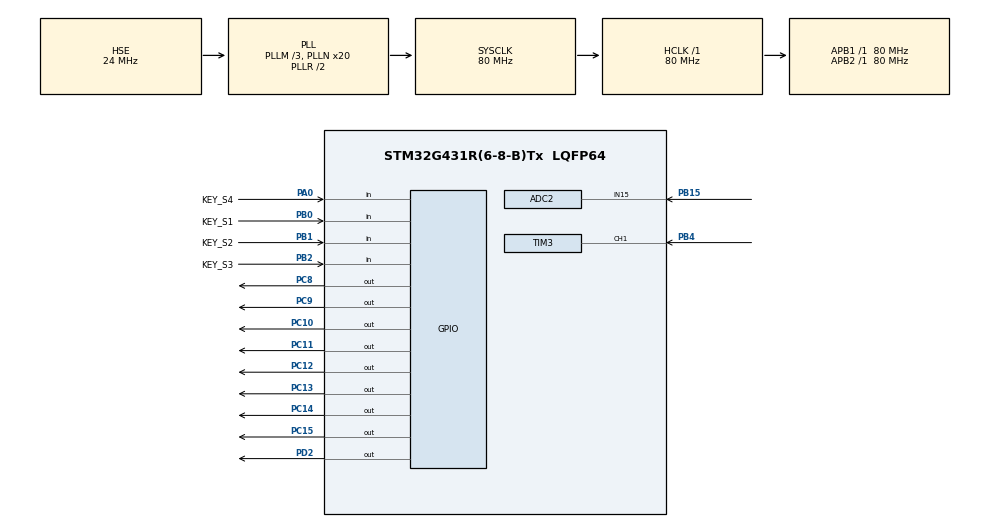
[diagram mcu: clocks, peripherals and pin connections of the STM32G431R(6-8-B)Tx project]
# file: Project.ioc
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ADC2.Channel-0\#ChannelRegularConversion=ADC_CHANNEL_15
ADC2.ContinuousConvMode=ENABLE
ADC2.NbrOfConversionFlag=1
ADC2.OffsetNumber-0\#ChannelRegularConversion=ADC_OFFSET_NONE
ADC2.Overrun=ADC_OVR_DATA_OVERWRITTEN
ADC2.Rank-0\#ChannelRegularConversion=1
ADC2.SamplingTime-0\#ChannelRegularConversion=ADC_SAMPLETIME_2CYCLES_5
Mcu.Family=STM32G4
Mcu.Name=STM32G431R(6-8-B)Tx
Mcu.Package=LQFP64
NVIC.PriorityGroup=NVIC_PRIORITYGROUP_4
NVIC.TIM1_TRG_COM_TIM17_IRQn=true\:1\:0\:true\:false\:true\:true\:true\:true
PA0.GPIO_Label=KEY_S4
PA0.Signal=GPIO_Input
PA13.Mode=Serial_Wire
PA13.Signal=SYS_JTMS-SWDIO
PA14.Mode=Serial_Wire
PA14.Signal=SYS_JTCK-SWCLK
PB0.GPIO_Label=KEY_S1
PB0.Signal=GPIO_Input
PB1.GPIO_Label=KEY_S2
PB1.Signal=GPIO_Input
PB15.Mode=IN15-Single-Ended
PB15.Signal=ADC2_IN15
PB2.GPIO_Label=KEY_S3
PB2.Signal=GPIO_Input
PB4.Signal=S_TIM3_CH1
PC10.Signal=GPIO_Output
PC11.Signal=GPIO_Output
PC12.Signal=GPIO_Output
PC13.Signal=GPIO_Output
PC14-OSC32_IN.Signal=GPIO_Output
PC15-OSC32_OUT.Signal=GPIO_Output
PC8.Signal=GPIO_Output
PC9.Signal=GPIO_Output
PD2.Signal=GPIO_Output
PF0-OSC_IN.Mode=HSE-External-Oscillator
PF0-OSC_IN.Signal=RCC_OSC_IN
PF1-OSC_OUT.Mode=HSE-External-Oscillator
PF1-OSC_OUT.Signal=RCC_OSC_OUT
ProjectManager.HeapSize=0x0
ProjectManager.StackSize=0x1000
ProjectManager.TargetToolchain=MDK-ARM V5.32
RCC.ADC12Freq_Value=80000000
RCC.AHBFreq_Value=80000000
RCC.APB1Freq_Value=80000000
RCC.APB1TimFreq_Value=80000000
RCC.APB2Freq_Value=80000000
RCC.APB2TimFreq_Value=80000000
RCC.CortexFreq_Value=80000000
RCC.EXTERNAL_CLOCK_VALUE=12288000
RCC.HCLKFreq_Value=80000000
RCC.HSE_VALUE=24000000
RCC.HSI48_VALUE=48000000
RCC.HSI_VALUE=16000000
RCC.LSE_VALUE=32768
RCC.PLLM=RCC_PLLM_DIV3
RCC.PLLN=20
RCC.PLLSourceVirtual=RCC_PLLSOURCE_HSE
RCC.SYSCLKFreq_VALUE=80000000
RCC.SYSCLKSource=RCC_SYSCLKSOURCE_PLLCLK
RCC.USBFreq_Value=80000000
RCC.VCOOutputFreq_Value=160000000
SH.S_TIM3_CH1.0=TIM3_CH1,PWM_Input_1
TIM17.PeriodNoDither=9999
TIM17.Prescaler=79
TIM3.ICPolarity_1=TIM_INPUTCHANNELPOLARITY_RISING
TIM3.Prescaler=79
VP_SYS_VS_DBSignals.Mode=DisableDeadBatterySignals
VP_TIM17_VS_ClockSourceINT.Mode=Enable_Timer
board=custom

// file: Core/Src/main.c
/* USER CODE BEGIN Header */
/**
  ******************************************************************************
  * @file           : main.c
  * @brief          : Main program body
  ******************************************************************************
  * @attention
  *
  * Copyright (c) 2025 STMicroelectronics.
  * All rights reserved.
  *
  * This software is licensed under terms that can be found in the LICENSE file
  * in the root directory of this software component.
  * If no LICENSE file comes with this software, it is provided AS-IS.
  *
  ******************************************************************************
  */
/* USER CODE END Header */
#include "main.h"
#include "adc.h"
#include "tim.h"
#include "gpio.h"

/* USER CODE BEGIN Includes */
#include "lcd.h"

/* USER CODE END Includes */

/* USER CODE BEGIN PTD */
typedef enum {
	DATA    = 0x01,
	RECD    = 0x02,
	PARA_H  = 0x04 | 0x20,
	PARA_L  = 0x04 | 0x40,
	PARA_HM = 0x04 | 0x08,
	PARA_LM = 0x04 | 0x10
} LcdPageTypeDef;

typedef enum {
	NONE = 0,
	HIGH = 1,
	LOW  = 2
} AlarmTypeDef;

/* USER CODE END PTD */

/* USER CODE BEGIN PV */
uint8_t  ledState  = 0x01;
uint8_t  lcdPage   = DATA;
uint16_t rate;
uint16_t maxRate   = 30;
uint16_t minRate   = 200;
uint16_t alarmCnt  = 0;
uint16_t highLimit = 100;
uint16_t lowLimit  = 60;
uint16_t tmpHigh   = 100;
uint16_t tmpLow    = 60;

/* USER CODE END PV */

void SystemClock_Config(void);
/* USER CODE BEGIN PFP */
float LinearMap(float x, float xmin, float xmax, float ymin, float ymax);
void LCD_ShowString(uint8_t Line, const char *format, ...);
void Key_Process(uint8_t keyNum);

/* USER CODE END PFP */

/* USER CODE BEGIN 0 */
void HAL_TIM_PeriodElapsedCallback(TIM_HandleTypeDef *htim)
{
	if (htim == &htim17)
	{
		Key_Process(Key_Read());
	}
}

/* USER CODE END 0 */

int main(void)
{

  /* MCU Configuration--------------------------------------------------------*/

  /* Reset of all peripherals, Initializes the Flash interface and the Systick. */
  HAL_Init();

  /* Configure the system clock */
  SystemClock_Config();

  /* Initialize all configured peripherals */
  MX_GPIO_Init();
  MX_TIM17_Init();
  MX_TIM3_Init();
  MX_ADC2_Init();
  /* USER CODE BEGIN 2 */
  LED_WR(ledState);
  LCD_Init();
  LCD_Clear(Black);
  LCD_SetBackColor(Black);
  LCD_SetTextColor(White);

  HAL_ADC_Start(&hadc2);
  HAL_TIM_IC_Start(&htim3, TIM_CHANNEL_1);
  HAL_TIM_Base_Start_IT(&htim17);

  /* USER CODE END 2 */

  /* Infinite loop */
  while (1)
  {

  }
}

void SystemClock_Config(void)
{
  RCC_OscInitTypeDef RCC_OscInitStruct = {0};
  RCC_ClkInitTypeDef RCC_ClkInitStruct = {0};

  /** Configure the main internal regulator output voltage
  */
  HAL_PWREx_ControlVoltageScaling(PWR_REGULATOR_VOLTAGE_SCALE1);

  /** Initializes the RCC Oscillators according to the specified parameters
  * in the RCC_OscInitTypeDef structure.
  */
  RCC_OscInitStruct.OscillatorType = RCC_OSCILLATORTYPE_HSE;
  RCC_OscInitStruct.HSEState = RCC_HSE_ON;
  RCC_OscInitStruct.PLL.PLLState = RCC_PLL_ON;
  RCC_OscInitStruct.PLL.PLLSource = RCC_PLLSOURCE_HSE;
  RCC_OscInitStruct.PLL.PLLM = RCC_PLLM_DIV3;
  RCC_OscInitStruct.PLL.PLLN = 20;
  RCC_OscInitStruct.PLL.PLLP = RCC_PLLP_DIV2;
  RCC_OscInitStruct.PLL.PLLQ = RCC_PLLQ_DIV2;
  RCC_OscInitStruct.PLL.PLLR = RCC_PLLR_DIV2;
  if (HAL_RCC_OscConfig(&RCC_OscInitStruct) != HAL_OK)
  {
    Error_Handler();
  }

  /** Initializes the CPU, AHB and APB buses clocks
  */
  RCC_ClkInitStruct.ClockType = RCC_CLOCKTYPE_HCLK|RCC_CLOCKTYPE_SYSCLK
                              |RCC_CLOCKTYPE_PCLK1|RCC_CLOCKTYPE_PCLK2;
  RCC_ClkInitStruct.SYSCLKSource = RCC_SYSCLKSOURCE_PLLCLK;
  RCC_ClkInitStruct.AHBCLKDivider = RCC_SYSCLK_DIV1;
  RCC_ClkInitStruct.APB1CLKDivider = RCC_HCLK_DIV1;
  RCC_ClkInitStruct.APB2CLKDivider = RCC_HCLK_DIV1;

  if (HAL_RCC_ClockConfig(&RCC_ClkInitStruct, FLASH_LATENCY_2) != HAL_OK)
  {
    Error_Handler();
  }
}

/* USER CODE BEGIN 4 */
void LCD_ShowString(uint8_t Line, const char *format, ...)
{
	char str[21];
	va_list ap;
	va_start(ap, format);
	int xnum = vsnprintf(str, 21, format, ap);
	va_end(ap);
	while (xnum < 20) str[xnum++] = 32;
	LCD_DisplayStringLine(Line, (uint8_t *)str);
}

void Key_Process(uint8_t keyNum)
{
	if (keyNum == 0x01)
	{
		if (lcdPage == DATA) lcdPage = RECD;
		else if (lcdPage == RECD) lcdPage = PARA_H;
		else lcdPage = DATA, tmpHigh = highLimit, tmpLow = lowLimit;
	}
	else if (keyNum == 0x02)
	{
		if (lcdPage == PARA_H) lcdPage = PARA_L;
		else if (lcdPage == PARA_L) lcdPage = PARA_H;
		else if (lcdPage == PARA_HM) lcdPage = PARA_LM;
		else if (lcdPage == PARA_LM) lcdPage = PARA_HM;
	}
	else if (keyNum == 0x03)
	{
		if (lcdPage == PARA_H) lcdPage = PARA_HM;
		else if (lcdPage == PARA_L) lcdPage = PARA_LM;
		else if (lcdPage == PARA_HM) lcdPage = PARA_H, highLimit = tmpHigh, lowLimit = tmpLow;
		else if (lcdPage == PARA_LM) lcdPage = PARA_L, highLimit = tmpHigh, lowLimit = tmpLow;
	}
	else if (keyNum == 0x04 && lcdPage == DATA) alarmCnt = 0;

	static uint8_t timeCnt = 0;
	if (++timeCnt < 10) return;
	timeCnt = 0;

	ledState = lcdPage & 0x1F;
	rate = LinearMap(1000000.0 / (TIM3->CCR1 + 1), 1000, 2000, 30, 200) + 0.5;
	if (rate < minRate) minRate = rate;
	if (rate > maxRate) maxRate = rate;

	static uint8_t alarmTime = 0;
	static uint8_t preAlarm = NONE;
	uint8_t curAlarm = NONE;
	if (rate < lowLimit) curAlarm = LOW;
	if (rate > highLimit) curAlarm = HIGH;
	if (curAlarm != preAlarm && curAlarm != NONE) alarmCnt += 1, alarmTime = 1;
	if (alarmTime) alarmTime = (alarmTime + 1) % 51, ledState |= 0x20;
	preAlarm = curAlarm;

	if (lcdPage == PARA_HM) tmpHigh = LinearMap(ADC2->DR, 4095 * 1.0 / 3.3, 4095 * 3.0 / 3.3, 60, 150) + 0.5;
	if (lcdPage == PARA_LM) tmpLow = LinearMap(ADC2->DR, 4095 * 1.0 / 3.3, 4095 * 3.0 / 3.3, 60, 150) + 0.5;

	LED_WR(ledState);
	if (lcdPage == DATA)
	{
		LCD_ShowString(Line1, "       HEART        ");
		LCD_ShowString(Line3, "      Rate:%d", rate);
		LCD_ShowString(Line4, "       Con:%d", alarmCnt);
	}
	else if (lcdPage == RECD)
	{
		LCD_ShowString(Line1, "       RECORD       ");
		LCD_ShowString(Line3, "       Max:%d", maxRate);
		LCD_ShowString(Line4, "       Min:%d", minRate);
	}
	else
	{
		LCD_ShowString(Line1, "        PARA        ");
		LCD_ShowString(Line3, "      High:%d", tmpHigh);
		LCD_ShowString(Line4, "       Low:%d", tmpLow);
	}
}

float LinearMap(float x, float xmin, float xmax, float ymin, float ymax)
{
	if (x <= xmin) return ymin;
	if (x >= xmax) return ymax;
	return ymin + (x - xmin) * (ymax - ymin) / (xmax - xmin);
}

/* USER CODE END 4 */

void Error_Handler(void)
{
  __disable_irq();
  while (1)
  {
  }
}
